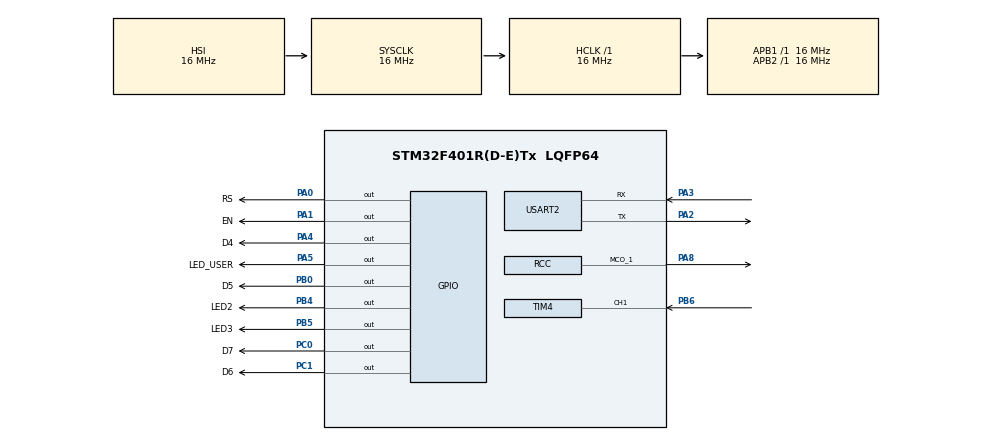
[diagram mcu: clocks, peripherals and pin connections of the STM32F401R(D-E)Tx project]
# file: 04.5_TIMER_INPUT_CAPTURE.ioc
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Dma.Request0=TIM4_CH1
Dma.TIM4_CH1.0.Direction=DMA_PERIPH_TO_MEMORY
Dma.TIM4_CH1.0.FIFOMode=DMA_FIFOMODE_DISABLE
Dma.TIM4_CH1.0.Instance=DMA1_Stream0
Dma.TIM4_CH1.0.MemDataAlignment=DMA_MDATAALIGN_HALFWORD
Dma.TIM4_CH1.0.MemInc=DMA_MINC_ENABLE
Dma.TIM4_CH1.0.Mode=DMA_CIRCULAR
Dma.TIM4_CH1.0.PeriphDataAlignment=DMA_PDATAALIGN_HALFWORD
Dma.TIM4_CH1.0.PeriphInc=DMA_PINC_DISABLE
Dma.TIM4_CH1.0.Priority=DMA_PRIORITY_LOW
Mcu.Family=STM32F4
Mcu.Name=STM32F401R(D-E)Tx
Mcu.Package=LQFP64
NVIC.DMA1_Stream0_IRQn=true\:0\:0\:false\:false\:true\:false\:true\:true
NVIC.PriorityGroup=NVIC_PRIORITYGROUP_4
NVIC.TIM1_TRG_COM_TIM11_IRQn=true\:0\:0\:false\:false\:true\:true\:true\:true
NVIC.TIM1_UP_TIM10_IRQn=true\:0\:0\:false\:false\:true\:true\:true\:true
NVIC.TIM3_IRQn=true\:0\:0\:false\:false\:true\:true\:true\:true
PA0-WKUP.GPIO_Label=RS
PA0-WKUP.Signal=GPIO_Output
PA1.GPIO_Label=EN
PA1.Signal=GPIO_Output
PA2.Mode=Asynchronous
PA2.Signal=USART2_TX
PA3.Mode=Asynchronous
PA3.Signal=USART2_RX
PA4.GPIO_Label=D4
PA4.Signal=GPIO_Output
PA5.GPIO_Label=LED_USER
PA5.Signal=GPIO_Output
PA8.Mode=Clock-out-1
PA8.Signal=RCC_MCO_1
PB0.GPIO_Label=D5
PB0.Signal=GPIO_Output
PB4.GPIO_Label=LED2
PB4.Signal=GPIO_Output
PB5.GPIO_Label=LED3
PB5.Signal=GPIO_Output
PB6.Signal=S_TIM4_CH1
PC0.GPIO_Label=D7
PC0.Signal=GPIO_Output
PC1.GPIO_Label=D6
PC1.Signal=GPIO_Output
ProjectManager.HeapSize=0x200
ProjectManager.StackSize=0x400
ProjectManager.TargetToolchain=STM32CubeIDE
RCC.AHBFreq_Value=16000000
RCC.APB1Freq_Value=16000000
RCC.APB1TimFreq_Value=16000000
RCC.APB2Freq_Value=16000000
RCC.APB2TimFreq_Value=16000000
RCC.CortexFreq_Value=16000000
RCC.HCLKFreq_Value=16000000
RCC.HSE_VALUE=25000000
RCC.HSI_VALUE=16000000
RCC.LSE_VALUE=32768
RCC.RCC_MCODiv1=RCC_MCODIV_5
RCC.SYSCLKFreq_VALUE=16000000
RCC.VCOOutputFreq_Value=192000000
SH.S_TIM4_CH1.0=TIM4_CH1,Input_Capture1_from_TI1
TIM10.AutoReloadPreload=TIM_AUTORELOAD_PRELOAD_ENABLE
TIM10.Period=63999
TIM10.Prescaler=49
TIM11.AutoReloadPreload=TIM_AUTORELOAD_PRELOAD_ENABLE
TIM11.Period=7999
TIM3.Period=63999
TIM3.Prescaler=124
TIM4.AutoReloadPreload=TIM_AUTORELOAD_PRELOAD_ENABLE
TIM4.Channel-Input_Capture1_from_TI1=TIM_CHANNEL_1
TIM4.ICFilter_CH1=0
TIM4.Prescaler=999
USART2.VirtualMode=VM_ASYNC
VP_TIM10_VS_ClockSourceINT.Mode=Enable_Timer
VP_TIM11_VS_ClockSourceINT.Mode=Enable_Timer
VP_TIM3_VS_ClockSourceINT.Mode=Internal
VP_TIM4_VS_ClockSourceINT.Mode=Internal
board=custom

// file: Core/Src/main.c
/* USER CODE BEGIN Header */
/**
  ******************************************************************************
  * @file           : main.c
  * @brief          : Main program body
  ******************************************************************************
  * @attention
  *
  * Copyright (c) 2023 STMicroelectronics.
  * All rights reserved.
  *
  * This software is licensed under terms that can be found in the LICENSE file
  * in the root directory of this software component.
  * If no LICENSE file comes with this software, it is provided AS-IS.
  *
  ******************************************************************************
  */
/* USER CODE END Header */
#include "main.h"

/* USER CODE BEGIN Includes */
#include <stdio.h>
#include <string.h>
#include "LCD.h"
/* USER CODE END Includes */

TIM_HandleTypeDef htim3;
TIM_HandleTypeDef htim4;
TIM_HandleTypeDef htim10;
TIM_HandleTypeDef htim11;
DMA_HandleTypeDef hdma_tim4_ch1;

UART_HandleTypeDef huart2;

/* USER CODE BEGIN PV */
uint16_t captures[2];
uint16_t diff_captures;
float frequency;
volatile uint8_t capture_done = 0;

char buff_str[50];
/* USER CODE END PV */

void SystemClock_Config(void);
static void MX_GPIO_Init(void);
static void MX_DMA_Init(void);
static void MX_TIM3_Init(void);
static void MX_TIM4_Init(void);
static void MX_USART2_UART_Init(void);
static void MX_TIM10_Init(void);
static void MX_TIM11_Init(void);

int main(void)
{

  /* MCU Configuration--------------------------------------------------------*/

  /* Reset of all peripherals, Initializes the Flash interface and the Systick. */
  HAL_Init();

  /* Configure the system clock */
  SystemClock_Config();

  /* USER CODE BEGIN SysInit */
  LCD_init();
  LCD_cmd(LCD_CLEAR);
  /* USER CODE END SysInit */

  /* Initialize all configured peripherals */
  MX_GPIO_Init();
  MX_DMA_Init();
  MX_TIM3_Init();
  MX_TIM4_Init();
  MX_USART2_UART_Init();
  MX_TIM10_Init();
  MX_TIM11_Init();
  /* USER CODE BEGIN 2 */
  LCD_cmd(LCD_CLEAR);
  LCD_gotoxy(1, 1);
  LCD_write_text("INPUT FREQUENCY:");
  HAL_TIM_Base_Start_IT(&htim11); //temporizador que va a generar la señal a medir de 0.5ms (toggle -> 1ms = 10000 hz)
  HAL_TIM_Base_Start_IT(&htim10); //temporizador que va a generar la señal a medir de 200ms (toggle -> 400ms = 2.5 hz)
  HAL_TIM_Base_Start_IT(&htim3); //temporizador que va a generar la señal a medir de 500ms (toggle -> 1000ms = 1 hz)
  HAL_TIM_Base_Start(&htim4);
  HAL_TIM_IC_Start_DMA(&htim4, TIM_CHANNEL_1, (uint32_t *)captures, 2);

  /* USER CODE END 2 */

  /* Infinite loop */
  /* USER CODE BEGIN WHILE */
  while (1)
  {
	  if(capture_done == 2){

		  HAL_TIM_IC_Stop_DMA(&htim4, TIM_CHANNEL_1);

		  if(captures[1] >= captures[0])
		  {
			  diff_captures = captures[1]-captures[0];
		  }
		  else
		  {
			 diff_captures = ( htim4.Instance->ARR - captures[0]) + captures[1];
		  }

		  frequency = HAL_RCC_GetPCLK1Freq() / ( htim4.Instance->PSC + 1);
		  frequency = (float)frequency / diff_captures; //enviar solo cuando usamos  HAL_TIM_IC_CaptureCallback
//		  frequency = frequency*2;//se utiliza al usar DMA1_Stream0_IRQHandler se multiplica por 2 ya que al hacer el toggle del pin estamos midiendo el doble del periodo

		  sprintf(buff_str,"frequency: %4.2f Hz",frequency);
		  LCD_gotoxy(1, 2);
		  LCD_write_text(buff_str);
		  HAL_UART_Transmit(&huart2, (uint8_t *)buff_str, strlen(buff_str), HAL_MAX_DELAY);
		  HAL_UART_Transmit(&huart2, (uint8_t *)"\r\n", strlen("\r\n"), HAL_MAX_DELAY);
		  capture_done=0;
		  __HAL_TIM_SET_COUNTER(&htim4, 0);
		  HAL_Delay(500);

		  HAL_TIM_IC_Start_DMA(&htim4, TIM_CHANNEL_1, (uint32_t *)captures, 2);

	  }

    /* USER CODE END WHILE */

  }
}

void SystemClock_Config(void)
{
  RCC_OscInitTypeDef RCC_OscInitStruct = {0};
  RCC_ClkInitTypeDef RCC_ClkInitStruct = {0};

  /** Configure the main internal regulator output voltage
  */
  __HAL_RCC_PWR_CLK_ENABLE();
  __HAL_PWR_VOLTAGESCALING_CONFIG(PWR_REGULATOR_VOLTAGE_SCALE2);

  /** Initializes the RCC Oscillators according to the specified parameters
  * in the RCC_OscInitTypeDef structure.
  */
  RCC_OscInitStruct.OscillatorType = RCC_OSCILLATORTYPE_HSI;
  RCC_OscInitStruct.HSIState = RCC_HSI_ON;
  RCC_OscInitStruct.HSICalibrationValue = RCC_HSICALIBRATION_DEFAULT;
  RCC_OscInitStruct.PLL.PLLState = RCC_PLL_NONE;
  if (HAL_RCC_OscConfig(&RCC_OscInitStruct) != HAL_OK)
  {
    Error_Handler();
  }

  /** Initializes the CPU, AHB and APB buses clocks
  */
  RCC_ClkInitStruct.ClockType = RCC_CLOCKTYPE_HCLK|RCC_CLOCKTYPE_SYSCLK
                              |RCC_CLOCKTYPE_PCLK1|RCC_CLOCKTYPE_PCLK2;
  RCC_ClkInitStruct.SYSCLKSource = RCC_SYSCLKSOURCE_HSI;
  RCC_ClkInitStruct.AHBCLKDivider = RCC_SYSCLK_DIV1;
  RCC_ClkInitStruct.APB1CLKDivider = RCC_HCLK_DIV1;
  RCC_ClkInitStruct.APB2CLKDivider = RCC_HCLK_DIV1;

  if (HAL_RCC_ClockConfig(&RCC_ClkInitStruct, FLASH_LATENCY_0) != HAL_OK)
  {
    Error_Handler();
  }
  HAL_RCC_MCOConfig(RCC_MCO1, RCC_MCO1SOURCE_HSI, RCC_MCODIV_5);
}

static void MX_TIM3_Init(void)
{

  TIM_ClockConfigTypeDef sClockSourceConfig = {0};
  TIM_MasterConfigTypeDef sMasterConfig = {0};

  htim3.Instance = TIM3;
  htim3.Init.Prescaler = 124;
  htim3.Init.CounterMode = TIM_COUNTERMODE_UP;
  htim3.Init.Period = 63999;
  htim3.Init.ClockDivision = TIM_CLOCKDIVISION_DIV1;
  htim3.Init.AutoReloadPreload = TIM_AUTORELOAD_PRELOAD_DISABLE;
  if (HAL_TIM_Base_Init(&htim3) != HAL_OK)
  {
    Error_Handler();
  }
  sClockSourceConfig.ClockSource = TIM_CLOCKSOURCE_INTERNAL;
  if (HAL_TIM_ConfigClockSource(&htim3, &sClockSourceConfig) != HAL_OK)
  {
    Error_Handler();
  }
  sMasterConfig.MasterOutputTrigger = TIM_TRGO_RESET;
  sMasterConfig.MasterSlaveMode = TIM_MASTERSLAVEMODE_DISABLE;
  if (HAL_TIMEx_MasterConfigSynchronization(&htim3, &sMasterConfig) != HAL_OK)
  {
    Error_Handler();
  }

}

static void MX_TIM4_Init(void)
{

  TIM_ClockConfigTypeDef sClockSourceConfig = {0};
  TIM_MasterConfigTypeDef sMasterConfig = {0};
  TIM_IC_InitTypeDef sConfigIC = {0};

  htim4.Instance = TIM4;
  htim4.Init.Prescaler = 999;
  htim4.Init.CounterMode = TIM_COUNTERMODE_UP;
  htim4.Init.Period = 65535;
  htim4.Init.ClockDivision = TIM_CLOCKDIVISION_DIV1;
  htim4.Init.AutoReloadPreload = TIM_AUTORELOAD_PRELOAD_ENABLE;
  if (HAL_TIM_Base_Init(&htim4) != HAL_OK)
  {
    Error_Handler();
  }
  sClockSourceConfig.ClockSource = TIM_CLOCKSOURCE_INTERNAL;
  if (HAL_TIM_ConfigClockSource(&htim4, &sClockSourceConfig) != HAL_OK)
  {
    Error_Handler();
  }
  if (HAL_TIM_IC_Init(&htim4) != HAL_OK)
  {
    Error_Handler();
  }
  sMasterConfig.MasterOutputTrigger = TIM_TRGO_RESET;
  sMasterConfig.MasterSlaveMode = TIM_MASTERSLAVEMODE_DISABLE;
  if (HAL_TIMEx_MasterConfigSynchronization(&htim4, &sMasterConfig) != HAL_OK)
  {
    Error_Handler();
  }
  sConfigIC.ICPolarity = TIM_INPUTCHANNELPOLARITY_RISING;
  sConfigIC.ICSelection = TIM_ICSELECTION_DIRECTTI;
  sConfigIC.ICPrescaler = TIM_ICPSC_DIV1;
  sConfigIC.ICFilter = 0;
  if (HAL_TIM_IC_ConfigChannel(&htim4, &sConfigIC, TIM_CHANNEL_1) != HAL_OK)
  {
    Error_Handler();
  }

}

static void MX_TIM10_Init(void)
{

  htim10.Instance = TIM10;
  htim10.Init.Prescaler = 49;
  htim10.Init.CounterMode = TIM_COUNTERMODE_UP;
  htim10.Init.Period = 63999;
  htim10.Init.ClockDivision = TIM_CLOCKDIVISION_DIV1;
  htim10.Init.AutoReloadPreload = TIM_AUTORELOAD_PRELOAD_ENABLE;
  if (HAL_TIM_Base_Init(&htim10) != HAL_OK)
  {
    Error_Handler();
  }

}

static void MX_TIM11_Init(void)
{

  htim11.Instance = TIM11;
  htim11.Init.Prescaler = 0;
  htim11.Init.CounterMode = TIM_COUNTERMODE_UP;
  htim11.Init.Period = 7999;
  htim11.Init.ClockDivision = TIM_CLOCKDIVISION_DIV1;
  htim11.Init.AutoReloadPreload = TIM_AUTORELOAD_PRELOAD_ENABLE;
  if (HAL_TIM_Base_Init(&htim11) != HAL_OK)
  {
    Error_Handler();
  }

}

static void MX_USART2_UART_Init(void)
{

  huart2.Instance = USART2;
  huart2.Init.BaudRate = 115200;
  huart2.Init.WordLength = UART_WORDLENGTH_8B;
  huart2.Init.StopBits = UART_STOPBITS_1;
  huart2.Init.Parity = UART_PARITY_NONE;
  huart2.Init.Mode = UART_MODE_TX_RX;
  huart2.Init.HwFlowCtl = UART_HWCONTROL_NONE;
  huart2.Init.OverSampling = UART_OVERSAMPLING_16;
  if (HAL_UART_Init(&huart2) != HAL_OK)
  {
    Error_Handler();
  }

}

static void MX_DMA_Init(void)
{

  /* DMA controller clock enable */
  __HAL_RCC_DMA1_CLK_ENABLE();

  /* DMA interrupt init */
  /* DMA1_Stream0_IRQn interrupt configuration */
  HAL_NVIC_SetPriority(DMA1_Stream0_IRQn, 0, 0);
  HAL_NVIC_EnableIRQ(DMA1_Stream0_IRQn);

}

static void MX_GPIO_Init(void)
{
  GPIO_InitTypeDef GPIO_InitStruct = {0};

  /* GPIO Ports Clock Enable */
  __HAL_RCC_GPIOC_CLK_ENABLE();
  __HAL_RCC_GPIOA_CLK_ENABLE();
  __HAL_RCC_GPIOB_CLK_ENABLE();

  /*Configure GPIO pin Output Level */
  HAL_GPIO_WritePin(GPIOC, D7_Pin|D6_Pin, GPIO_PIN_RESET);

  /*Configure GPIO pin Output Level */
  HAL_GPIO_WritePin(GPIOA, RS_Pin|EN_Pin|D4_Pin|LED_USER_Pin, GPIO_PIN_RESET);

  /*Configure GPIO pin Output Level */
  HAL_GPIO_WritePin(GPIOB, D5_Pin|LED2_Pin|LED3_Pin, GPIO_PIN_RESET);

  /*Configure GPIO pins : D7_Pin D6_Pin */
  GPIO_InitStruct.Pin = D7_Pin|D6_Pin;
  GPIO_InitStruct.Mode = GPIO_MODE_OUTPUT_PP;
  GPIO_InitStruct.Pull = GPIO_NOPULL;
  GPIO_InitStruct.Speed = GPIO_SPEED_FREQ_LOW;
  HAL_GPIO_Init(GPIOC, &GPIO_InitStruct);

  /*Configure GPIO pins : RS_Pin EN_Pin D4_Pin LED_USER_Pin */
  GPIO_InitStruct.Pin = RS_Pin|EN_Pin|D4_Pin|LED_USER_Pin;
  GPIO_InitStruct.Mode = GPIO_MODE_OUTPUT_PP;
  GPIO_InitStruct.Pull = GPIO_NOPULL;
  GPIO_InitStruct.Speed = GPIO_SPEED_FREQ_LOW;
  HAL_GPIO_Init(GPIOA, &GPIO_InitStruct);

  /*Configure GPIO pins : D5_Pin LED2_Pin LED3_Pin */
  GPIO_InitStruct.Pin = D5_Pin|LED2_Pin|LED3_Pin;
  GPIO_InitStruct.Mode = GPIO_MODE_OUTPUT_PP;
  GPIO_InitStruct.Pull = GPIO_NOPULL;
  GPIO_InitStruct.Speed = GPIO_SPEED_FREQ_LOW;
  HAL_GPIO_Init(GPIOB, &GPIO_InitStruct);

  /*Configure GPIO pin : PA8 */
  GPIO_InitStruct.Pin = GPIO_PIN_8;
  GPIO_InitStruct.Mode = GPIO_MODE_AF_PP;
  GPIO_InitStruct.Pull = GPIO_NOPULL;
  GPIO_InitStruct.Speed = GPIO_SPEED_FREQ_LOW;
  GPIO_InitStruct.Alternate = GPIO_AF0_MCO;
  HAL_GPIO_Init(GPIOA, &GPIO_InitStruct);

}

/* USER CODE BEGIN 4 */
void HAL_TIM_IC_CaptureCallback(TIM_HandleTypeDef *htim){

	capture_done++;

}
/* USER CODE END 4 */

void Error_Handler(void)
{
  __disable_irq();
  while (1)
  {
  }
}
